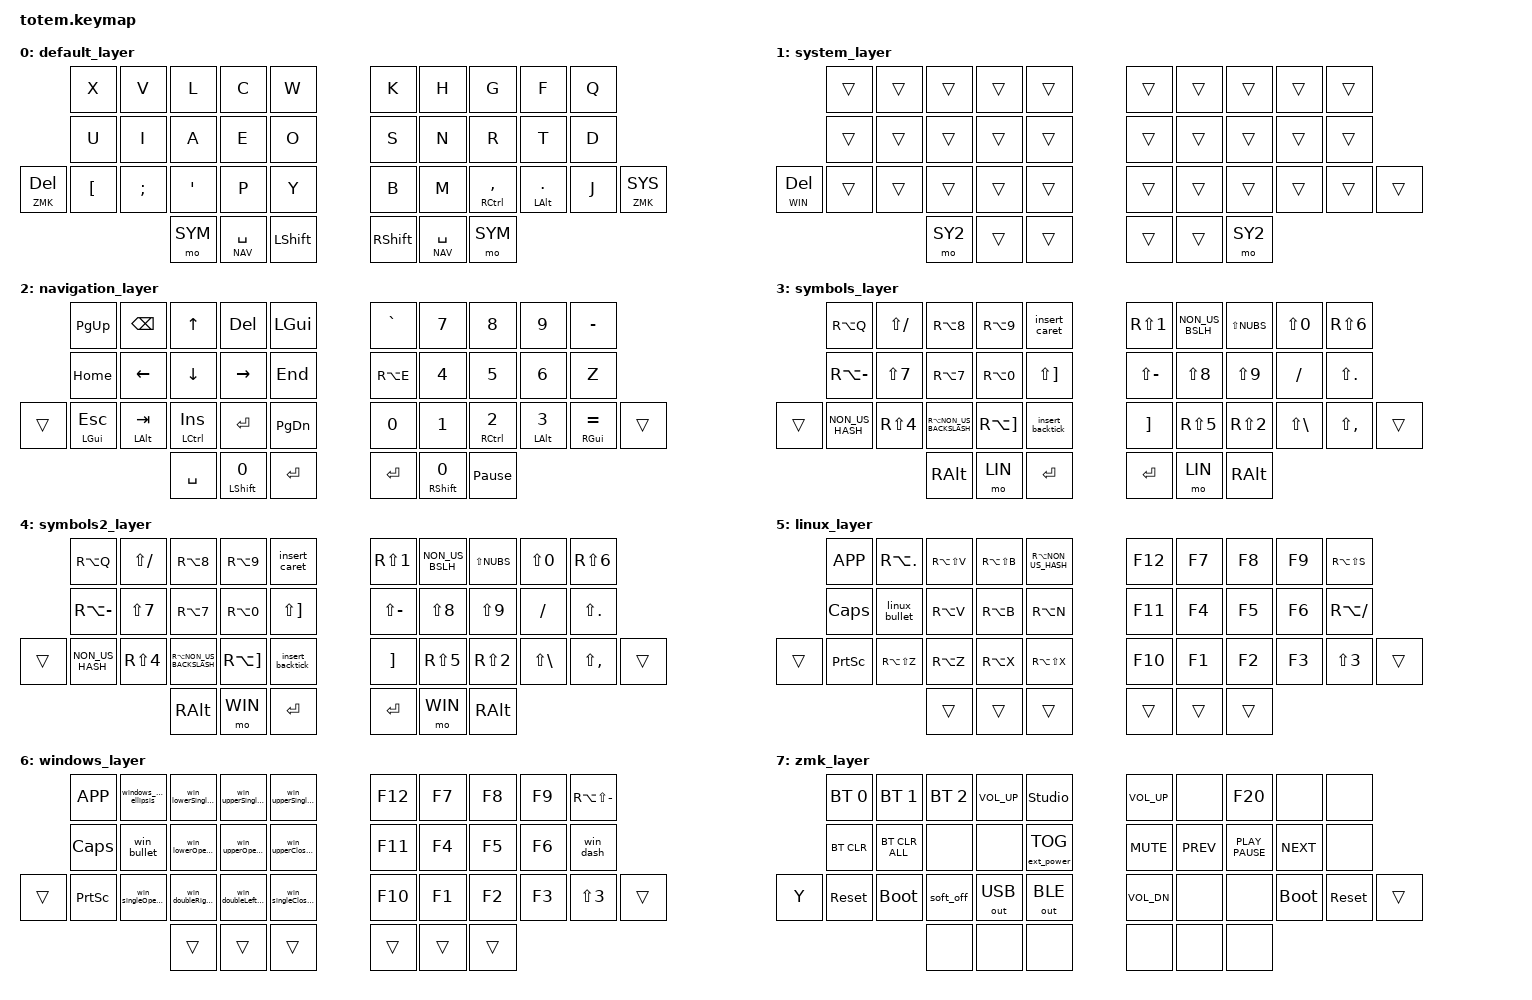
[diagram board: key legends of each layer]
#include <behaviors.dtsi>
#include <dt-bindings/zmk/bt.h>
#include <dt-bindings/zmk/keys.h>
#include <dt-bindings/zmk/outputs.h>
#include <dt-bindings/zmk/ext_power.h>

//     0  1  2  3  4       5  6  7  8  9
//    10 11 12 13 14      15 16 17 18 19
// 20 21 22 23 24 25      26 27 28 29 30 31
//          32 33 34      35 36 37
#define LEFT_KEYS 0 1 2 3 4 10 11 12 13 14 20 21 22 23 24 25
#define LEFT_THUMBS 32 33 34
#define RIGHT_KEYS 5 6 7 8 9 15 16 17 18 19 26 27 28 29 30 31
#define RIGHT_THUMBS 35 36 37

#define DEF 0
#define SYS 1
#define NAV 2
#define SYM 3
#define SY2 4
#define LIN 5
#define WIN 6
#define ZMK 7

&mt {
    flavor = "balanced";
    tapping-term-ms = <220>;
    quick-tap-ms = <175>;
};

&lt {
    flavor = "balanced";
    tapping-term-ms = <220>;
    quick-tap-ms = <175>;
};

/ {
    behaviors {
        ht_mo_tog: ht_mo_tog {
            compatible = "zmk,behavior-hold-tap";
            #binding-cells = <2>;
            flavor = "balanced";
            tapping-term-ms = <220>;
            hold-trigger-on-release;
            bindings = <&mo>, <&tog>;
        };
        ht_mo_repeat: ht_mo_repeat {
            compatible = "zmk,behavior-hold-tap";
            #binding-cells = <2>;
            flavor = "balanced";
            tapping-term-ms = <220>;
            hold-trigger-on-release;
            bindings = <&mo>, <&key_repeat>;
        };
    };
};

/ {
    combos {
        compatible = "zmk,combos";
        combo_eszett {
            timeout-ms = <100>;
            key-positions = <33 9>; // Left thumb (nav), right pinky up
            layers = <0 1 2>;
            bindings = <&kp MINUS>;
        };
        combo_ypsilon {
            timeout-ms = <100>;
            key-positions = <33 19>; // Left thumb (nav), right pinky
            layers = <0 1 2>;
            bindings = <&kp Z>;
        };
        combo_enter1 {
            timeout-ms = <100>;
            key-positions = <33 35>; // Left thumb (nav), right thumb left
            layers = <0 1 2 3>;
            bindings = <&kp RET>;
        };
        combo_enter2 {
            timeout-ms = <100>;
            key-positions = <34 36>; // Left thumb right, right thumb (nav)
            layers = <0 1 2 3>;
            bindings = <&kp RET>;
        };
        combo_enter3 {
            timeout-ms = <100>;
            key-positions = <34 35>; // Left thumb right, right thumb left
            layers = <0 1 2 3>;
            bindings = <&kp RET>;
        };
        combo_shift {
            timeout-ms = <100>;
            key-positions = <33 36>; // Left thumb (nav), right thumb (nav)
            layers = <0 1 2 3>;
            bindings = <&kp LSHFT>;
        };
    };

    macros {
        insert_backtick: insert_backtick {
            label = "insert_backtick";
            compatible = "zmk,behavior-macro";
            #binding-cells = <0>;
            wait-ms = <0>;
            tap-ms = <0>;
            bindings
                = <&macro_tap &kp LS(EQUAL) &kp SPACE>;
        };
        insert_caret: insert_caret {
            label = "insert_caret";
            compatible = "zmk,behavior-macro";
            #binding-cells = <0>;
            wait-ms = <0>;
            tap-ms = <0>;
            bindings
                = <&macro_tap &kp GRAVE &kp SPACE>;
        };
        windows_insert_ellipsis: windows_insert_ellipsis {
            label = "windows_insert_ellipsis";
            compatible = "zmk,behavior-macro";
            #binding-cells = <0>;
            wait-ms = <0>;
            tap-ms = <0>;
            bindings
                = <&macro_press &kp LEFT_ALT>
                , <&macro_tap &kp KP_N0 &kp KP_N1 &kp KP_N3 &kp KP_N3>
                , <&macro_release &kp LEFT_ALT>
                ;
        };
        win_doubleRightChevrons: win_doubleRightChevrons {
            label = "win_doubleRightChevrons";
            compatible = "zmk,behavior-macro";
            #binding-cells = <0>;
            wait-ms = <0>;
            tap-ms = <0>;
            bindings
                = <&macro_press &kp LEFT_ALT>
                , <&macro_tap &kp KP_N0 &kp KP_N1 &kp KP_N8 &kp KP_N7>
                , <&macro_release &kp LEFT_ALT>
                ;
        };
        win_doubleLeftChevrons: win_doubleLeftChevrons {
            label = "win_doubleLeftChevrons";
            compatible = "zmk,behavior-macro";
            #binding-cells = <0>;
            wait-ms = <0>;
            tap-ms = <0>;
            bindings
                = <&macro_press &kp LEFT_ALT>
                , <&macro_tap &kp KP_N0 &kp KP_N1 &kp KP_N7 &kp KP_N1>
                , <&macro_release &kp LEFT_ALT>
                ;
        };
        win_lowerOpenDblQuote: win_lowerOpenDblQuote {
            label = "win_lowerOpenDblQuote";
            compatible = "zmk,behavior-macro";
            #binding-cells = <0>;
            wait-ms = <0>;
            tap-ms = <0>;
            bindings
                = <&macro_press &kp LEFT_ALT>
                , <&macro_tap &kp KP_N0 &kp KP_N1 &kp KP_N3 &kp KP_N2>
                , <&macro_release &kp LEFT_ALT>
                ;
        };
        win_upperOpenDblQuote: win_upperOpenDblQuote {
            label = "win_upperOpenDblQuote";
            compatible = "zmk,behavior-macro";
            #binding-cells = <0>;
            wait-ms = <0>;
            tap-ms = <0>;
            bindings
                = <&macro_press &kp LEFT_ALT>
                , <&macro_tap &kp KP_N0 &kp KP_N1 &kp KP_N4 &kp KP_N7>
                , <&macro_release &kp LEFT_ALT>
                ;
        };
        win_upperCloseDblQuote: win_upperCloseDblQuote {
            label = "win_upperCloseDblQuote";
            compatible = "zmk,behavior-macro";
            #binding-cells = <0>;
            wait-ms = <0>;
            tap-ms = <0>;
            bindings
                = <&macro_press &kp LEFT_ALT>
                , <&macro_tap &kp KP_N0 &kp KP_N1 &kp KP_N4 &kp KP_N8>
                , <&macro_release &kp LEFT_ALT>
                ;
        };
        win_longDash: win_longDash {
            label = "win_longDash";
            compatible = "zmk,behavior-macro";
            #binding-cells = <0>;
            wait-ms = <0>;
            tap-ms = <0>;
            bindings
                = <&macro_press &kp LEFT_ALT>
                , <&macro_tap &kp KP_N0 &kp KP_N1 &kp KP_N5 &kp KP_N1>
                , <&macro_release &kp LEFT_ALT>
                ;
        };
        win_dash: win_dash {
            label = "win_dash";
            compatible = "zmk,behavior-macro";
            #binding-cells = <0>;
            wait-ms = <0>;
            tap-ms = <0>;
            bindings
                = <&macro_press &kp LEFT_ALT>
                , <&macro_tap &kp KP_N0 &kp KP_N1 &kp KP_N5 &kp KP_N0>
                , <&macro_release &kp LEFT_ALT>
                ;
        };
        win_bullet: win_bullet {
            label = "win_bullet";
            compatible = "zmk,behavior-macro";
            #binding-cells = <0>;
            wait-ms = <0>;
            tap-ms = <0>;
            bindings
                = <&macro_press &kp LEFT_ALT>
                , <&macro_tap &kp KP_N0 &kp KP_N1 &kp KP_N4 &kp KP_N9>
                , <&macro_release &kp LEFT_ALT>
                ;
        };
        linux_bullet: linux_bullet {
            label = "linux_bullet";
            compatible = "zmk,behavior-macro";
            #binding-cells = <0>;
            wait-ms = <0>;
            tap-ms = <0>;
            bindings
                = <&macro_press &kp LCTRL &kp LSHFT>
                , <&macro_tap &kp U>
                , <&macro_release &kp LCTRL &kp LSHFT>
                , <&macro_tap &kp N2 &kp N0 &kp N2 &kp N2 &kp RET>
                ;
        };
        win_upper1: win_upper1 {
            label = "win_upper1";
            compatible = "zmk,behavior-macro";
            #binding-cells = <0>;
            wait-ms = <0>;
            tap-ms = <0>;
            bindings
                = <&macro_press &kp LEFT_ALT>
                , <&macro_tap &kp KP_N0 &kp KP_N1 &kp KP_N8 &kp KP_N5>
                , <&macro_release &kp LEFT_ALT>
                ;
        };
        win_upper2: win_upper2 {
            label = "win_upper2";
            compatible = "zmk,behavior-macro";
            #binding-cells = <0>;
            wait-ms = <0>;
            tap-ms = <0>;
            bindings
                = <&macro_press &kp LEFT_ALT>
                , <&macro_tap &kp KP_N0 &kp KP_N1 &kp KP_N7 &kp KP_N8>
                , <&macro_release &kp LEFT_ALT>
                ;
        };
        win_upper3: win_upper3 {
            label = "win_upper3";
            compatible = "zmk,behavior-macro";
            #binding-cells = <0>;
            wait-ms = <0>;
            tap-ms = <0>;
            bindings
                = <&macro_press &kp LEFT_ALT>
                , <&macro_tap &kp KP_N0 &kp KP_N1 &kp KP_N7 &kp KP_N9>
                , <&macro_release &kp LEFT_ALT>
                ;
        };
        win_singleOpenChevron: win_singleOpenChevron {
            label = "win_singleOpenChevron";
            compatible = "zmk,behavior-macro";
            #binding-cells = <0>;
            wait-ms = <0>;
            tap-ms = <0>;
            bindings
                = <&macro_press &kp LEFT_ALT>
                , <&macro_tap &kp KP_N0 &kp KP_N1 &kp KP_N5 &kp KP_N5>
                , <&macro_release &kp LEFT_ALT>
                ;
        };
        win_singleCloseChevron: win_singleCloseChevron {
            label = "win_singleCloseChevron";
            compatible = "zmk,behavior-macro";
            #binding-cells = <0>;
            wait-ms = <0>;
            tap-ms = <0>;
            bindings
                = <&macro_press &kp LEFT_ALT>
                , <&macro_tap &kp KP_N0 &kp KP_N1 &kp KP_N3 &kp KP_N9>
                , <&macro_release &kp LEFT_ALT>
                ;
        };
        win_cent: win_cent {
            label = "win_cent";
            compatible = "zmk,behavior-macro";
            #binding-cells = <0>;
            wait-ms = <0>;
            tap-ms = <0>;
            bindings
                = <&macro_press &kp LEFT_ALT>
                , <&macro_tap &kp KP_N0 &kp KP_N1 &kp KP_N6 &kp KP_N2>
                , <&macro_release &kp LEFT_ALT>
                ;
        };
        win_yen: win_yen {
            label = "win_yen";
            compatible = "zmk,behavior-macro";
            #binding-cells = <0>;
            wait-ms = <0>;
            tap-ms = <0>;
            bindings
                = <&macro_press &kp LEFT_ALT>
                , <&macro_tap &kp KP_N0 &kp KP_N1 &kp KP_N6 &kp KP_N5>
                , <&macro_release &kp LEFT_ALT>
                ;
        };
        win_lowerSingleOpenQuote: win_lowerSingleOpenQuote {
            label = "win_lowerSingleOpenQuote";
            compatible = "zmk,behavior-macro";
            #binding-cells = <0>;
            wait-ms = <0>;
            tap-ms = <0>;
            bindings
                = <&macro_press &kp LEFT_ALT>
                , <&macro_tap &kp KP_N0 &kp KP_N1 &kp KP_N3 &kp KP_N0>
                , <&macro_release &kp LEFT_ALT>
                ;
        };
        win_upperSingleOpenQuote: win_upperSingleOpenQuote {
            label = "win_upperSingleOpenQuote";
            compatible = "zmk,behavior-macro";
            #binding-cells = <0>;
            wait-ms = <0>;
            tap-ms = <0>;
            bindings
                = <&macro_press &kp LEFT_ALT>
                , <&macro_tap &kp KP_N0 &kp KP_N1 &kp KP_N4 &kp KP_N5>
                , <&macro_release &kp LEFT_ALT>
                ;
        };
        win_upperSingleCloseQuote: win_upperSingleCloseQuote {
            label = "win_upperSingleCloseQuote";
            compatible = "zmk,behavior-macro";
            #binding-cells = <0>;
            wait-ms = <0>;
            tap-ms = <0>;
            bindings
                = <&macro_press &kp LEFT_ALT>
                , <&macro_tap &kp KP_N0 &kp KP_N1 &kp KP_N4 &kp KP_N6>
                , <&macro_release &kp LEFT_ALT>
                ;
        };
        win_pound: win_pound {
            label = "win_pound";
            compatible = "zmk,behavior-macro";
            #binding-cells = <0>;
            wait-ms = <0>;
            tap-ms = <0>;
            bindings
                = <&macro_press &kp LEFT_ALT>
                , <&macro_tap &kp KP_N0 &kp KP_N1 &kp KP_N6 &kp KP_N3>
                , <&macro_release &kp LEFT_ALT>
                ;
        };
        win_heart: win_heart {
            label = "win_heart";
            compatible = "zmk,behavior-macro";
            #binding-cells = <0>;
            wait-ms = <0>;
            tap-ms = <0>;
            bindings
                = <&macro_press &kp LEFT_ALT>
                , <&macro_tap &kp KP_N3>
                , <&macro_release &kp LEFT_ALT>
                ;
        };
        linux_heart: linux_heart {
            label = "linux_heart";
            compatible = "zmk,behavior-macro";
            #binding-cells = <0>;
            wait-ms = <0>;
            tap-ms = <0>;
            bindings
                = <&macro_press &kp LCTRL &kp LSHFT>
                , <&macro_tap &kp U>
                , <&macro_release &kp LCTRL &kp LSHFT>
                , <&macro_tap &kp N2 &kp N6 &kp N6 &kp N5 &kp RET>
                ;
        };
        win_smilie: win_smilie {
            label = "win_smilie";
            compatible = "zmk,behavior-macro";
            #binding-cells = <0>;
            wait-ms = <0>;
            tap-ms = <0>;
            bindings
                = <&macro_press &kp LEFT_ALT>
                , <&macro_tap &kp KP_N1>
                , <&macro_release &kp LEFT_ALT>
                ;
        };
        linux_smilie: linux_smilie {
            label = "linux_smilie";
            compatible = "zmk,behavior-macro";
            #binding-cells = <0>;
            wait-ms = <0>;
            tap-ms = <0>;
            bindings
                = <&macro_press &kp LCTRL &kp LSHFT>
                , <&macro_tap &kp U>
                , <&macro_release &kp LCTRL &kp LSHFT>
                , <&macro_tap &kp N2 &kp N6 &kp N3 &kp A &kp RET>
                ;
        };
        win_copyright: win_copyright {
            label = "win_copyright";
            compatible = "zmk,behavior-macro";
            #binding-cells = <0>;
            wait-ms = <0>;
            tap-ms = <0>;
            bindings
                = <&macro_press &kp LEFT_ALT>
                , <&macro_tap &kp KP_N0 &kp KP_N1 &kp KP_N6 &kp KP_N9>
                , <&macro_release &kp LEFT_ALT>
                ;
        };
        win_registered: win_registered {
            label = "win_registered";
            compatible = "zmk,behavior-macro";
            #binding-cells = <0>;
            wait-ms = <0>;
            tap-ms = <0>;
            bindings
                = <&macro_press &kp LEFT_ALT>
                , <&macro_tap &kp KP_N1 &kp KP_N6 &kp KP_N9>
                , <&macro_release &kp LEFT_ALT>
                ;
        };
        win_trademark: win_trademark {
            label = "win_trademark";
            compatible = "zmk,behavior-macro";
            #binding-cells = <0>;
            wait-ms = <0>;
            tap-ms = <0>;
            bindings
                = <&macro_press &kp LEFT_ALT>
                , <&macro_tap &kp KP_N0 &kp KP_N1 &kp KP_N5 &kp KP_N3>
                , <&macro_release &kp LEFT_ALT>
                ;
        };
        win_flippedQuestion: win_flippedQuestion {
            label = "win_flippedQuestion";
            compatible = "zmk,behavior-macro";
            #binding-cells = <0>;
            wait-ms = <0>;
            tap-ms = <0>;
            bindings
                = <&macro_press &kp LEFT_ALT>
                , <&macro_tap &kp KP_N1 &kp KP_N6 &kp KP_N8>
                , <&macro_release &kp LEFT_ALT>
                ;
        };
        win_flippedExcl: win_flippedExcl {
            label = "win_flippedExcl";
            compatible = "zmk,behavior-macro";
            #binding-cells = <0>;
            wait-ms = <0>;
            tap-ms = <0>;
            bindings
                = <&macro_press &kp LEFT_ALT>
                , <&macro_tap &kp KP_N1 &kp KP_N7 &kp KP_N3>
                , <&macro_release &kp LEFT_ALT>
                ;
        };
        win_nbsp: win_nbsp {
            label = "win_nbsp";
            compatible = "zmk,behavior-macro";
            #binding-cells = <0>;
            wait-ms = <0>;
            tap-ms = <0>;
            bindings
                = <&macro_press &kp LEFT_ALT>
                , <&macro_tap &kp KP_N2 &kp KP_N5 &kp KP_N5>
                , <&macro_release &kp LEFT_ALT>
                ;
        };
        linux_nbsp: linux_nbsp {
            label = "linux_nbsp";
            compatible = "zmk,behavior-macro";
            #binding-cells = <0>;
            wait-ms = <0>;
            tap-ms = <0>;
            bindings
                = <&macro_press &kp LCTRL &kp LSHFT>
                , <&macro_tap &kp U>
                , <&macro_release &kp LCTRL &kp LSHFT>
                , <&macro_tap &kp N0 &kp N0 &kp A &kp N0 &kp RET>
                ;
        };
    };

keymap {
        compatible = "zmk,keymap";

        default_layer {
            bindings = <
            &kp X          &kp V          &kp L            &kp C              &kp W             /* | */        &kp K          &kp H              &kp G            &kp F            &kp Q
            &kp U          &kp I          &kp A            &kp E              &kp O             /* | */        &kp S          &kp N              &kp R            &kp T            &kp D
&lt ZMK DEL &kp LBKT       &kp SEMI       &kp SQT          &kp P              &kp Y             /* | */        &kp B          &kp M              &mt RCTRL COMMA  &mt LALT DOT     &kp J  &ht_mo_tog ZMK SYS
                                          /* - - - - - - - - - - - - - - - - - - - - - - - - - - - - - - - - - - - - - - - - - - - - - - - - - - - - - */
                                          &mo SYM          &lt NAV SPACE      &kp LSHFT         /* | */        &kp RSHFT      &lt NAV SPACE      &mo SYM
//                                     &ht_mo_repeat SYM 0 &lt NAV SPACE      &kp LSHFT         /* | */        &kp RSHFT      &lt NAV SPACE      &ht_mo_repeat SYM 0
            >;
        };

        system_layer {
            bindings = <
            &trans        &trans        &trans           &trans             &trans             /* | */        &trans         &trans             &trans          &trans             &trans
            &trans        &trans        &trans           &trans             &trans             /* | */        &trans         &trans             &trans          &trans             &trans
&lt WIN DEL &trans        &trans        &trans           &trans             &trans             /* | */        &trans         &trans             &trans          &trans             &trans      &trans
                                        /* - - - - - - - - - - - - - - - - - - - - - - - - - - - - - - - - - - - - - - - - - - - - - - - - - - - - - */
                                        &mo SY2          &trans             &trans             /* | */        &trans         &trans             &mo SY2
//                                   &ht_mo_repeat SY2 0 &trans             &trans             /* | */        &trans         &trans             &ht_mo_repeat SY2 0
            >;
        };

        navigation_layer {
            bindings = <
         &kp PG_UP      &kp BSPC      &kp UP          &kp DEL             &kp LGUI           /* | */        &kp GRAVE      &kp N7             &kp N8          &kp N9            &kp MINUS
         &kp HOME       &kp LEFT      &kp DOWN        &kp RIGHT           &kp END            /* | */        &kp RA(E)      &kp N4             &kp N5          &kp N6            &kp Z
&trans   &mt LGUI ESC   &mt LALT TAB  &mt LCTRL INS   &kp RET             &kp PG_DN          /* | */        &kp N0         &kp N1             &mt RCTRL N2    &mt LALT N3       &mt RGUI EQUAL  &trans
                                      /* - - - - - - - - - - - - - - - - - - - - - - - - - - - - - - - - - - - - - - - - - - - - - - - - - - - - - */
                                      &kp SPACE       &mt LSHFT N0        &kp RET            /* | */        &kp RET        &mt RSHFT N0       &kp PAUSE_BREAK
            >;
        };

        symbols_layer {
            bindings = <
         &kp RA(Q)       &kp LS(FSLH) &kp RA(N8)      &kp RA(N9)     &insert_caret           /* | */        &kp RS(N1)    &kp NON_US_BSLH    &kp LS(NUBS)    &kp LS(N0)     &kp RS(N6)
         &kp RA(MINUS)   &kp LS(N7)   &kp RA(N7)      &kp RA(N0)     &kp LS(RBKT)            /* | */        &kp LS(MINUS) &kp LS(N8)         &kp LS(N9)      &kp FSLH       &kp LS(DOT)
&trans   &kp NON_US_HASH &kp RS(N4)   &kp RA(NON_US_BACKSLASH) &kp RA(RBKT) &insert_backtick /* | */        &kp RBKT      &kp RS(N5)         &kp RS(N2)      &kp LS(BSLH)   &kp LS(COMMA)  &trans
                                     /* - - - - - - - - - - - - - - -  - - - - - - - - - - - - - - - - - - - - - - - - - - - - - - - - - - - - - - */
                                      &kp RALT        &mo LIN        &kp RET                 /* | */        &kp RET       &mo LIN            &kp RALT
            >;
        };

        symbols2_layer {
            bindings = <
         &kp RA(Q)       &kp LS(FSLH) &kp RA(N8)      &kp RA(N9)     &insert_caret           /* | */        &kp RS(N1)    &kp NON_US_BSLH    &kp LS(NUBS)    &kp LS(N0)     &kp RS(N6)
         &kp RA(MINUS)   &kp LS(N7)   &kp RA(N7)      &kp RA(N0)     &kp LS(RBKT)            /* | */        &kp LS(MINUS) &kp LS(N8)         &kp LS(N9)      &kp FSLH       &kp LS(DOT)
&trans   &kp NON_US_HASH &kp RS(N4)   &kp RA(NON_US_BACKSLASH) &kp RA(RBKT) &insert_backtick /* | */        &kp RBKT      &kp RS(N5)         &kp RS(N2)      &kp LS(BSLH)   &kp LS(COMMA)  &trans
                                     /* - - - - - - - - - - - - - - -  - - - - - - - - - - - - - - - - - - - - - - - - - - - - - - - - - - - - - - */
                                      &kp RALT        &mo WIN        &kp RET                 /* | */        &kp RET       &mo WIN            &kp RALT
            >;
        };

        linux_layer {
            bindings = <
        &kp K_APP  &kp RA(DOT)    &kp RA(LS(V))  &kp RA(LS(B))  &kp RA(NON_US_HASH)         /* | */        &kp F12  &kp F7  &kp F8  &kp F9  &kp RA(LS(S))
        &kp CAPS   &linux_bullet  &kp RA(V)      &kp RA(B)      &kp RA(N)                   /* | */        &kp F11  &kp F4  &kp F5  &kp F6  &kp RA(SLASH)
&trans  &kp PSCRN  &kp RA(LS(Z))  &kp RA(Z)      &kp RA(X)      &kp RA(LS(X))               /* | */        &kp F10  &kp F1  &kp F2  &kp F3  &kp LS(N3)                                   &trans
                                     /* - - - - - - - - - - - - - - - - - - - - - - - - - - - - - - - - - - - - - - - - - - - - - - - - - - - - - */
                                  &trans         &trans         &trans                      /* | */        &trans   &trans  &trans
            >;
        };

        windows_layer {
            bindings = <
       &kp K_APP &windows_insert_ellipsis &win_lowerSingleOpenQuote &win_upperSingleOpenQuote &win_upperSingleCloseQuote &kp F12  &kp F7  &kp F8  &kp F9  &kp RA(LS(MINUS))
       &kp CAPS  &win_bullet              &win_lowerOpenDblQuote    &win_upperOpenDblQuote    &win_upperCloseDblQuote    &kp F11  &kp F4  &kp F5  &kp F6  &win_dash
&trans &kp PSCRN &win_singleOpenChevron   &win_doubleRightChevrons  &win_doubleLeftChevrons   &win_singleCloseChevron    &kp F10  &kp F1  &kp F2  &kp F3  &kp LS(N3)                     &trans
                                     /* - - - - - - - - - - - - - - - - - - - - - - - - - - - - - - - - - - - - - - - - - - - - - - - - - - - - - */
                                     &trans           &trans            &trans             /* | */        &trans         &trans             &trans
            >;
        };

        zmk_layer {
            bindings = <
         &bt BT_SEL 0  &bt BT_SEL 1   &bt BT_SEL 2    &kp K_VOL_UP       &studio_unlock     /* | */        &kp K_VOL_UP    &none             &kp F20 /* mic */  &none            &none
         &bt BT_CLR    &bt BT_CLR_ALL &none           &none              &ext_power EP_TOG  /* | */        &kp K_MUTE      &kp K_PREV        &kp K_PLAY_PAUSE   &kp K_NEXT       &none
&kp Y    &sys_reset    &bootloader    &soft_off       &out OUT_USB       &out OUT_BLE       /* | */        &kp K_VOL_DN    &none             &none              &bootloader      &sys_reset     &trans
                                     /* - - - - - - - - - - - - - - - - - - - - - - - - - - - - - - - - - - - - - - - - - - - - - - - - - - - - - */
                                      &none           &none              &none              /* | */        &none           &none             &none
            >;
        };
    };
};
